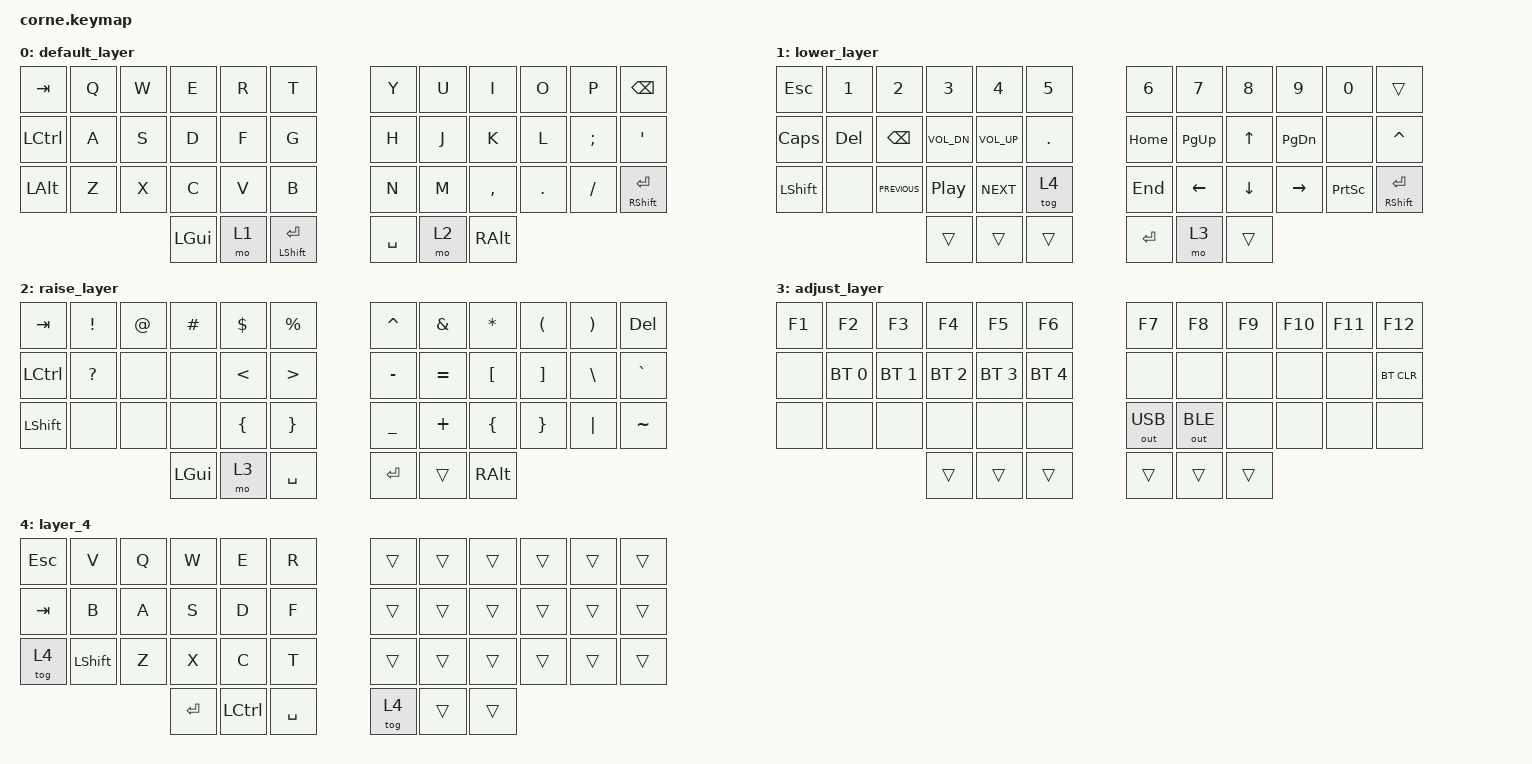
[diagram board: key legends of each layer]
/*
 * Copyright (c) 2020 The ZMK Contributors
 *
 * SPDX-License-Identifier: MIT
 */

#include <../boards/shields/corne/boards/nice_nano.overlay>
#include <behaviors.dtsi>
#include <dt-bindings/zmk/bt.h>
#include <dt-bindings/zmk/keys.h>
#include <dt-bindings/zmk/outputs.h>

/ {
    keymap {
        compatible = "zmk,keymap";

        default_layer {
            // -------------------------------------------------------------------------------------
            // |  TAB |  Q  |  W  |  E  |  R  |  T  |       |  Y  |  U   |  I  |  O  |  P  |   BKSP    |
            // | CTRL |  A  |  S  |  D  |  F  |  G  |       |  H  |  J   |  K  |  L  |  ;  |    '      |
            // | SHFT |  Z  |  X  |  C  |  V  |  B  |       |  N  |  M   |  ,  |  .  |  -  | SHFT(RET) |
            //                    | WIN | LWR | SPA |       | RTN | RSE  | ALT |

            bindings = <
&kp TAB    &kp Q  &kp W  &kp E     &kp R  &kp T               &kp Y      &kp U  &kp I      &kp O    &kp P      &kp BSPC
&kp LCTRL  &kp A  &kp S  &kp D     &kp F  &kp G               &kp H      &kp J  &kp K      &kp L    &kp SEMI   &kp SQT
&kp LALT   &kp Z  &kp X  &kp C     &kp V  &kp B               &kp N      &kp M  &kp COMMA  &kp DOT  &kp SLASH  &mt RSHIFT ENTER
                         &kp LGUI  &mo 1  &mt LSHIFT ENTER    &kp SPACE  &mo 2  &kp RALT
            >;
        };

        lower_layer {
            // ----------------------------------------------------------------------------------
            // |  ESC |  1   |  2  |  3   |  4     |  5  |          |  6  |  7  |  8  |  9  |  0   |    DEL   |
            // |  CAPS|      |     |      |        |     |          | HOME| PGUP|  UP |PGDN |  ?   |     ^    |
            // | SHFT | UNDO | CUT | COPY | PASTE| |     |          | END | LFT | DWN | RGT | PRSC | SHFT(RET)|
            //                              |     |     |          | RET | ADJ |    |

            bindings = <
&kp ESC    &kp N1   &kp N2          &kp N3            &kp N4           &kp N5     &kp N6    &kp N7     &kp N8    &kp N9     &kp N0     &trans
&kp CLCK   &kp DEL  &kp BACKSPACE   &kp C_VOL_DN      &kp C_VOLUME_UP  &kp DOT    &kp HOME  &kp PG_UP  &kp UP    &kp PG_DN  &none      &kp CARET
&kp LSHFT  &none    &kp C_PREVIOUS  &kp C_PLAY_PAUSE  &kp C_NEXT       &tog 4     &kp END   &kp LEFT   &kp DOWN  &kp RIGHT  &kp PSCRN  &mt RSHFT RET
                                    &trans            &trans           &trans     &kp RET   &mo 3      &trans
            >;
        };

        // -----------------------------------------------------------------------------------------
        // |  ESC |  !  |  @  |  #  |  $  |  %  |   |  &  |  /  |  (  |  )  |  =  | DEL |
        // | CTRL |   ? |     |     |     |     |   |  -  |  *  |  [  |  ]  |  \  |  `   |
        // | <    |   > |     |     |     |     |   |  _  |  +  |  {  |  }  | "|" |  ~   |
        //                    | GUI | LWR | SPC |   | ENT | RSE | ALT |

        raise_layer {
            bindings = <
&kp TAB     &kp EXCL   &kp AT  &kp HASH  &kp DLLR        &kp PRCNT           &kp CARET  &kp AMPERSAND  &kp STAR  &kp LPAR  &kp RPAR  &kp DEL
&kp LCTRL   &kp QMARK  &none   &none     &kp LESS_THAN   &kp GREATER_THAN    &kp MINUS  &kp EQUAL      &kp LBKT  &kp RBKT  &kp BSLH  &kp GRAVE
&kp LSHIFT  &none      &none   &none     &kp LEFT_BRACE  &kp RIGHT_BRACE     &kp UNDER  &kp PLUS       &kp LBRC  &kp RBRC  &kp PIPE  &kp TILDE
                               &kp LGUI  &mo 3           &kp SPACE           &kp RET    &trans         &kp RALT
            >;
        };

        adjust_layer {
            // -----------------------------------------------------------------------------------------
            // |  F1      |  F2      |  F3      | F4       |    F5   |  F6     |   |    F7   |   F8  |    F9   |   F10 |   F11 | F12    |
            // | RGB BRI+ | RGB SAT+ | RGB HUE+ | RGB ANI+ |  BL_TOG | RGB TOG |   |    BT1  |   BT2 |   BT3   |   BT4 |   BT5 | BT CLR |
            // | RGB BRI- | RGB SAT- | RGB HUE- | RGB ANI- |         |  EP_TOG |   |    USB  |   BLE |K_SLEEP  |       |       |  RESET |
            //                                              |     |     |     |     |     |

            bindings = <
&kp F1  &kp F2        &kp F3        &kp F4        &kp F5        &kp F6          &kp F7        &kp F8        &kp F9  &kp F10  &kp F11  &kp F12
&none   &bt BT_SEL 0  &bt BT_SEL 1  &bt BT_SEL 2  &bt BT_SEL 3  &bt BT_SEL 4    &none         &none         &none   &none    &none    &bt BT_CLR
&none   &none         &none         &none         &none         &none           &out OUT_USB  &out OUT_BLE  &none   &none    &none    &none
                                    &trans        &trans        &trans          &trans        &trans        &trans
            >;
        };

        layer_4 {
            bindings = <
&kp ESCAPE  &kp V       &kp Q  &kp W      &kp E      &kp R        &trans  &trans  &trans  &trans  &trans  &trans
&kp TAB     &kp B       &kp A  &kp S      &kp D      &kp F        &trans  &trans  &trans  &trans  &trans  &trans
&tog 4      &kp LSHIFT  &kp Z  &kp X      &kp C      &kp T        &trans  &trans  &trans  &trans  &trans  &trans
                               &kp ENTER  &kp LCTRL  &kp SPACE    &tog 4  &trans  &trans
            >;
        };
    };
};
